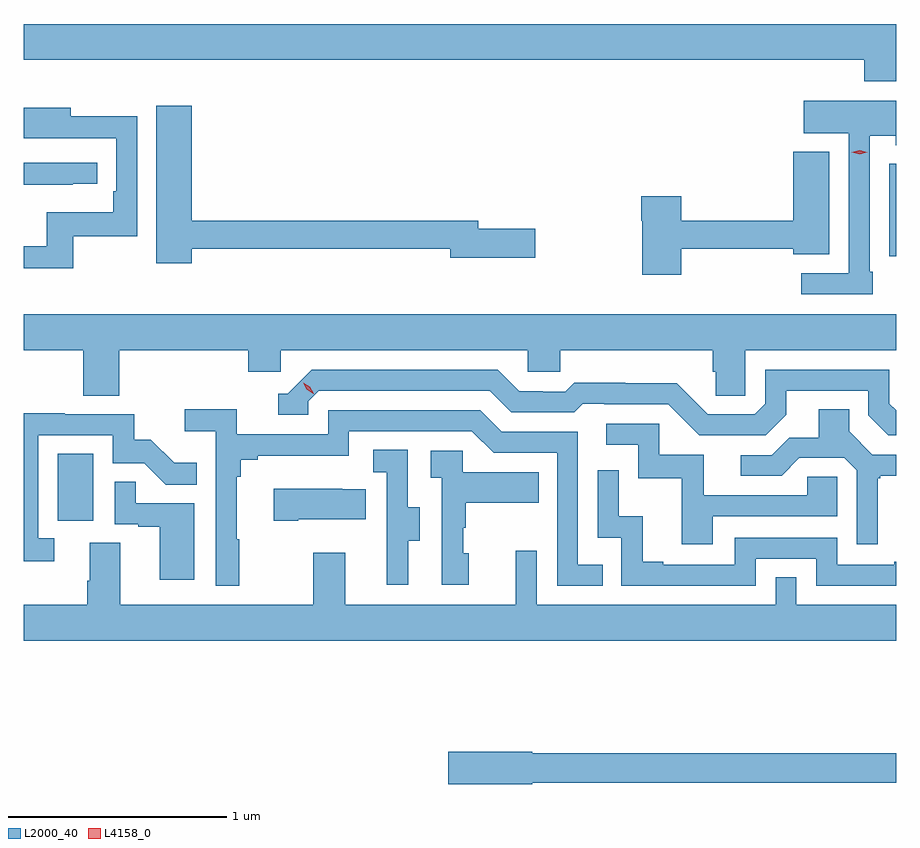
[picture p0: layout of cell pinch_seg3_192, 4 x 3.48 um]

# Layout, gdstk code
import gdstk
lib = gdstk.Library(unit=1e-6, precision=1e-09)
def R(c, l, rs):  # rectangles x0, y0, x1, y1
    for r in rs: c.add(gdstk.rectangle(r[:2], r[2:], *l))
def P(c, l, *ps):  # polygons
    for p in ps: c.add(gdstk.Polygon(p, *l))
L2000_40 = (2000, 40)
L4158_0 = (4158, 0)

pinch_seg3_192 = lib.new_cell('pinch_seg3_192')
R(pinch_seg3_192, L2000_40, [(975.398,729.438,975.562,729.745), (979.211,730.65,979.243,731.075)])
P(pinch_seg3_192, L2000_40, [(979.243,731.716),(975.243,731.716),(975.243,731.552),(979.097,731.552),(979.097,731.453),(979.243,731.453)],
  [(979.135,730.579),(979.122,730.579),(979.122,731.204),(979.242,731.204),(979.242,731.16),(979.243,731.16),(979.243,731.365),(978.819,731.365),(978.819,731.216),(979.026,731.216),(979.026,730.572),(978.807,730.572),(978.807,730.476),(979.135,730.476)],
  [(976.012,730.686),(977.198,730.686),(977.198,730.643),(977.587,730.643),(977.587,730.778),(977.326,730.778),(977.326,730.814),(976.012,730.814),(976.012,731.341),(975.851,731.341),(975.851,730.62),(976.012,730.62)],
  [(975.469,730.743),(975.762,730.743),(975.762,731.294),(975.457,731.294),(975.457,731.332),(975.243,731.332),(975.243,731.192),(975.353,731.192),(975.353,731.193),(975.666,731.193),(975.666,730.948),(975.653,730.948),(975.653,730.852),(975.348,730.852),(975.348,730.697),(975.243,730.697),(975.243,730.596),(975.469,730.596)],
  [(978.257,730.686),(978.77,730.686),(978.77,730.661),(978.937,730.661),(978.937,731.131),(978.77,731.131),(978.77,730.814),(978.257,730.814),(978.257,730.927),(978.074,730.927),(978.074,730.814),(978.079,730.814),(978.079,730.566),(978.257,730.566)],
  [(975.467,730.983),(975.58,730.983),(975.58,731.079),(975.243,731.079),(975.243,730.978),(975.467,730.978)],
  [(975.68,730.22),(976.271,730.22),(976.271,730.122),(976.422,730.122),(976.422,730.22),(977.553,730.22),(977.553,730.122),(977.703,730.122),(977.703,730.22),(978.401,730.22),(978.401,730.122),(978.415,730.122),(978.415,730.012),(978.552,730.012),(978.552,730.22),(979.243,730.22),(979.243,730.384),(975.243,730.384),(975.243,730.22),(975.515,730.22),(975.515,730.012),(975.68,730.012)],
  [(978.739,729.925),(978.739,730.035),(979.116,730.035),(979.116,729.921),(979.206,729.831),(979.243,729.831),(979.243,729.944),(979.212,729.975),(979.212,730.131),(978.642,730.131),(978.642,729.975),(978.594,729.927),(978.378,729.927),(978.236,730.069),(978,730.069),(978,730.072),(977.767,730.072),(977.725,730.029),(977.622,730.029),(977.622,730.032),(977.515,730.032),(977.416,730.131),(976.563,730.131),(976.452,730.02),(976.409,730.02),(976.409,729.924),(976.548,729.924),(976.548,729.987),(976.596,730.035),(977.379,730.035),(977.478,729.936),(977.767,729.936),(977.806,729.975),(977.905,729.975),(977.905,729.972),(978.198,729.972),(978.339,729.831),(978.645,729.831)],
  [(979.159,729.633),(979.171,729.633),(979.171,729.644),(979.243,729.644),(979.243,729.741),(979.134,729.741),(979.027,729.848),(979.027,729.95),(978.887,729.95),(978.887,729.818),(978.752,729.818),(978.672,729.738),(978.531,729.738),(978.531,729.645),(978.718,729.645),(978.799,729.726),(979.005,729.726),(979.062,729.669),(979.062,729.33),(979.159,729.33)],
  [(976.231,729.353),(976.219,729.353),(976.219,729.641),(976.238,729.641),(976.238,729.718),(976.315,729.718),(976.315,729.737),(976.734,729.737),(976.734,729.849),(977.298,729.849),(977.397,729.75),(977.688,729.75),(977.688,729.141),(977.897,729.141),(977.897,729.237),(977.784,729.237),(977.784,729.846),(977.434,729.846),(977.335,729.945),(976.638,729.945),(976.638,729.834),(976.22,729.834),(976.22,729.95),(975.981,729.95),(975.981,729.848),(976.122,729.848),(976.122,729.141),(976.231,729.141)],
  [(975.382,729.357),(975.309,729.357),(975.309,729.831),(975.651,729.831),(975.651,729.702),(975.795,729.702),(975.893,729.604),(976.037,729.604),(976.037,729.703),(975.933,729.703),(975.826,729.81),(975.75,729.81),(975.75,729.927),(975.431,729.927),(975.431,729.932),(975.243,729.932),(975.243,729.252),(975.382,729.252)],
  [(978.403,729.459),(978.972,729.459),(978.972,729.639),(978.835,729.639),(978.835,729.555),(978.361,729.555),(978.361,729.741),(978.156,729.741),(978.156,729.882),(977.913,729.882),(977.913,729.786),(978.06,729.786),(978.06,729.633),(978.259,729.633),(978.259,729.33),(978.403,729.33)],
  [(977.005,729.346),(977.059,729.346),(977.059,729.501),(977.004,729.501),(977.004,729.764),(976.845,729.764),(976.845,729.661),(976.908,729.661),(976.908,729.357),(976.907,729.357),(976.907,729.144),(977.005,729.144)],
  [(977.284,729.288),(977.259,729.288),(977.259,729.407),(977.269,729.407),(977.269,729.521),(977.603,729.521),(977.603,729.661),(977.256,729.661),(977.256,729.759),(977.109,729.759),(977.109,729.635),(977.16,729.635),(977.16,729.144),(977.284,729.144)],
  [(978.6,729.264),(978.876,729.264),(978.876,729.141),(979.243,729.141),(979.243,729.25),(979.235,729.25),(979.235,729.237),(978.972,729.237),(978.972,729.36),(978.504,729.36),(978.504,729.237),(978.175,729.237),(978.175,729.25),(978.08,729.25),(978.08,729.458),(977.97,729.458),(977.97,729.67),(977.874,729.67),(977.874,729.36),(977.982,729.36),(977.982,729.141),(978.6,729.141)],
  [(976.024,729.519),(975.755,729.519),(975.755,729.617),(975.66,729.617),(975.66,729.423),(975.767,729.423),(975.767,729.411),(975.866,729.411),(975.866,729.168),(976.024,729.168)],
  [(976.501,729.446),(976.811,729.446),(976.811,729.583),(976.703,729.583),(976.703,729.586),(976.389,729.586),(976.389,729.439),(976.501,729.439)],
  [(979.243,729.052),(978.786,729.052),(978.786,729.179),(978.69,729.179),(978.69,729.052),(977.595,729.052),(977.595,729.301),(977.498,729.301),(977.498,729.052),(976.717,729.052),(976.717,729.292),(976.57,729.292),(976.57,729.052),(975.685,729.052),(975.685,729.338),(975.545,729.338),(975.545,729.164),(975.533,729.164),(975.533,729.052),(975.243,729.052),(975.243,728.888),(979.243,728.888)],
  [(977.574,728.236),(979.243,728.236),(979.243,728.372),(977.574,728.372),(977.574,728.378),(977.19,728.378),(977.19,728.231),(977.574,728.231)])
P(pinch_seg3_192, L4158_0, [(979.075,731.118),(979.04,731.128),(979.04,731.128),(979.04,731.128),(979.075,731.138),(979.11,731.128),(979.11,731.128),(979.11,731.128)],
  [(976.571,730.02),(976.54,730.04),(976.524,730.072),(976.524,730.072),(976.524,730.072),(976.555,730.053),(976.572,730.021),(976.572,730.02)])

lib.write_gds('pinch_seg3_192.gds')
